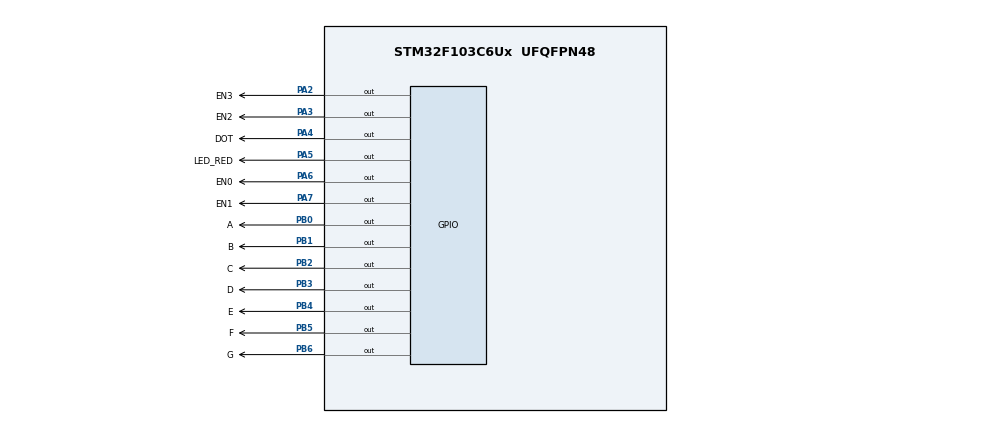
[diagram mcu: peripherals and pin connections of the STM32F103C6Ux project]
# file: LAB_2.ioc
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Mcu.Family=STM32F1
Mcu.Name=STM32F103C6Ux
Mcu.Package=UFQFPN48
NVIC.PriorityGroup=NVIC_PRIORITYGROUP_4
NVIC.TIM2_IRQn=true\:0\:0\:false\:false\:true\:true\:true\:true
PA2.GPIO_Label=EN3
PA2.Signal=GPIO_Output
PA3.GPIO_Label=EN2
PA3.Signal=GPIO_Output
PA4.GPIO_Label=DOT
PA4.Signal=GPIO_Output
PA5.GPIO_Label=LED_RED
PA5.Signal=GPIO_Output
PA6.GPIO_Label=EN0
PA6.Signal=GPIO_Output
PA7.GPIO_Label=EN1
PA7.Signal=GPIO_Output
PB0.GPIO_Label=A
PB0.Signal=GPIO_Output
PB1.GPIO_Label=B
PB1.Signal=GPIO_Output
PB2.GPIO_Label=C
PB2.Signal=GPIO_Output
PB3.GPIO_Label=D
PB3.Signal=GPIO_Output
PB4.GPIO_Label=E
PB4.Signal=GPIO_Output
PB5.GPIO_Label=F
PB5.Signal=GPIO_Output
PB6.GPIO_Label=G
PB6.Signal=GPIO_Output
ProjectManager.HeapSize=0x200
ProjectManager.StackSize=0x400
ProjectManager.TargetToolchain=STM32CubeIDE
RCC.APB1Freq_Value=8000000
RCC.APB2Freq_Value=8000000
TIM2.Period=9
TIM2.Prescaler=7999
VP_TIM2_VS_ClockSourceINT.Mode=Internal
board=custom

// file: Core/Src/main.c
/* USER CODE BEGIN Header */
/**
  ******************************************************************************
  * @file           : main.c
  * @brief          : Main program body
  ******************************************************************************
  * @attention
  *
  * Copyright (c) 2022 STMicroelectronics.
  * All rights reserved.
  *
  * This software is licensed under terms that can be found in the LICENSE file
  * in the root directory of this software component.
  * If no LICENSE file comes with this software, it is provided AS-IS.
  *
  ******************************************************************************
  */
/* USER CODE END Header */
#include "main.h"

/* USER CODE BEGIN Includes */
#include "global.h"
#include "software_timer.h"
/* USER CODE END Includes */

TIM_HandleTypeDef htim2;

/* USER CODE BEGIN PV */
int hour, minute, second;
/* USER CODE END PV */

void SystemClock_Config(void);
static void MX_GPIO_Init(void);
static void MX_TIM2_Init(void);
/* USER CODE BEGIN PFP */
void updateClockBuffer (int hour, int minute);
void update7SEG(int index);
/* USER CODE END PFP */

/* USER CODE BEGIN 0 */
const int MAX_LED = 4;
int index_led = 0;
int led_buffer[4] = {1, 2, 3, 0};

void update7SEG(int index) {
	switch (index) {
		case 0:
			HAL_GPIO_WritePin(EN0_GPIO_Port, EN0_Pin, RESET);
			HAL_GPIO_WritePin(EN1_GPIO_Port, EN1_Pin, SET);
			HAL_GPIO_WritePin(EN2_GPIO_Port, EN2_Pin, SET);
			HAL_GPIO_WritePin(EN3_GPIO_Port, EN3_Pin, SET);
			display7SEG(led_buffer[0]);
			break;
		case 1:
			HAL_GPIO_WritePin(EN0_GPIO_Port, EN0_Pin, SET);
			HAL_GPIO_WritePin(EN1_GPIO_Port, EN1_Pin, RESET);
			HAL_GPIO_WritePin(EN2_GPIO_Port, EN2_Pin, SET);
			HAL_GPIO_WritePin(EN3_GPIO_Port, EN3_Pin, SET);
			display7SEG(led_buffer[1]);
			break;
		case 2:
			HAL_GPIO_WritePin(EN0_GPIO_Port, EN0_Pin, SET);
			HAL_GPIO_WritePin(EN1_GPIO_Port, EN1_Pin, SET);
			HAL_GPIO_WritePin(EN2_GPIO_Port, EN2_Pin, RESET);
			HAL_GPIO_WritePin(EN3_GPIO_Port, EN3_Pin, SET);
			display7SEG(led_buffer[2]);
			break;
		case 3:
			HAL_GPIO_WritePin(EN0_GPIO_Port, EN0_Pin, SET);
			HAL_GPIO_WritePin(EN1_GPIO_Port, EN1_Pin, SET);
			HAL_GPIO_WritePin(EN2_GPIO_Port, EN2_Pin, SET);
			HAL_GPIO_WritePin(EN3_GPIO_Port, EN3_Pin, RESET);
			display7SEG(led_buffer[3]);
			break;
		default:
			break;
	}
}

void updateClockBuffer (int hour, int minute){
    led_buffer[0] = hour/10;
    led_buffer[1] = hour%10;
    led_buffer[2] = minute/10;
    led_buffer[3] = minute%10;
}
/* USER CODE END 0 */

int main(void)
{

  /* MCU Configuration--------------------------------------------------------*/

  /* Reset of all peripherals, Initializes the Flash interface and the Systick. */
  HAL_Init();

  /* Configure the system clock */
  SystemClock_Config();

  /* Initialize all configured peripherals */
  MX_GPIO_Init();
  MX_TIM2_Init();
  /* USER CODE BEGIN 2 */
  HAL_TIM_Base_Start_IT(&htim2);
  /* USER CODE END 2 */

  /* Infinite loop */
  /* USER CODE BEGIN WHILE */
  setTimer0 (500) ;
  setTimer1 (250) ;
  hour = 15, minute = 8, second = 50;

  int state = 0;
  while (1)
  {
	  if( timer1_flag == 1) {
		  second++;
		  if(second >= 60){
			  second = 0;
			  minute++;
		  }
		  if(minute >= 60){
			  minute = 0;
			  hour++;
		  }
		  if(hour >= 24){
			  hour = 0;
		  }
		  updateClockBuffer(hour, minute);
	  	  setTimer1 (50) ;
	  }
	  if( timer0_flag == 1) {
		  if(state == 0){
				HAL_GPIO_TogglePin ( DOT_GPIO_Port , DOT_Pin) ;
				HAL_GPIO_TogglePin ( LED_RED_GPIO_Port , LED_RED_Pin) ;
		  		update7SEG(1);
		  		state = 1;
		  	}
		  	else if(state == 1){
		  		update7SEG(2);
		  		state = 2;
		  	}
		  	else if(state == 2){
				HAL_GPIO_TogglePin ( DOT_GPIO_Port , DOT_Pin) ;
				HAL_GPIO_TogglePin ( LED_RED_GPIO_Port , LED_RED_Pin) ;
		  		update7SEG(3);
		  		state = 3;
		  	}
		  	else if(state == 3){
		  		update7SEG(0);
		  		state = 0;
		  	}
		  setTimer0 (500) ;
	  }
    /* USER CODE END WHILE */

  }
}

void SystemClock_Config(void)
{
  RCC_OscInitTypeDef RCC_OscInitStruct = {0};
  RCC_ClkInitTypeDef RCC_ClkInitStruct = {0};

  /** Initializes the RCC Oscillators according to the specified parameters
  * in the RCC_OscInitTypeDef structure.
  */
  RCC_OscInitStruct.OscillatorType = RCC_OSCILLATORTYPE_HSI;
  RCC_OscInitStruct.HSIState = RCC_HSI_ON;
  RCC_OscInitStruct.HSICalibrationValue = RCC_HSICALIBRATION_DEFAULT;
  RCC_OscInitStruct.PLL.PLLState = RCC_PLL_NONE;
  if (HAL_RCC_OscConfig(&RCC_OscInitStruct) != HAL_OK)
  {
    Error_Handler();
  }

  /** Initializes the CPU, AHB and APB buses clocks
  */
  RCC_ClkInitStruct.ClockType = RCC_CLOCKTYPE_HCLK|RCC_CLOCKTYPE_SYSCLK
                              |RCC_CLOCKTYPE_PCLK1|RCC_CLOCKTYPE_PCLK2;
  RCC_ClkInitStruct.SYSCLKSource = RCC_SYSCLKSOURCE_HSI;
  RCC_ClkInitStruct.AHBCLKDivider = RCC_SYSCLK_DIV1;
  RCC_ClkInitStruct.APB1CLKDivider = RCC_HCLK_DIV1;
  RCC_ClkInitStruct.APB2CLKDivider = RCC_HCLK_DIV1;

  if (HAL_RCC_ClockConfig(&RCC_ClkInitStruct, FLASH_LATENCY_0) != HAL_OK)
  {
    Error_Handler();
  }
}

static void MX_TIM2_Init(void)
{

  TIM_ClockConfigTypeDef sClockSourceConfig = {0};
  TIM_MasterConfigTypeDef sMasterConfig = {0};

  htim2.Instance = TIM2;
  htim2.Init.Prescaler = 7999;
  htim2.Init.CounterMode = TIM_COUNTERMODE_UP;
  htim2.Init.Period = 9;
  htim2.Init.ClockDivision = TIM_CLOCKDIVISION_DIV1;
  htim2.Init.AutoReloadPreload = TIM_AUTORELOAD_PRELOAD_DISABLE;
  if (HAL_TIM_Base_Init(&htim2) != HAL_OK)
  {
    Error_Handler();
  }
  sClockSourceConfig.ClockSource = TIM_CLOCKSOURCE_INTERNAL;
  if (HAL_TIM_ConfigClockSource(&htim2, &sClockSourceConfig) != HAL_OK)
  {
    Error_Handler();
  }
  sMasterConfig.MasterOutputTrigger = TIM_TRGO_RESET;
  sMasterConfig.MasterSlaveMode = TIM_MASTERSLAVEMODE_DISABLE;
  if (HAL_TIMEx_MasterConfigSynchronization(&htim2, &sMasterConfig) != HAL_OK)
  {
    Error_Handler();
  }

}

static void MX_GPIO_Init(void)
{
  GPIO_InitTypeDef GPIO_InitStruct = {0};

  /* GPIO Ports Clock Enable */
  __HAL_RCC_GPIOA_CLK_ENABLE();
  __HAL_RCC_GPIOB_CLK_ENABLE();

  /*Configure GPIO pin Output Level */
  HAL_GPIO_WritePin(GPIOA, EN3_Pin|EN2_Pin|DOT_Pin|LED_RED_Pin
                          |EN0_Pin|EN1_Pin, GPIO_PIN_RESET);

  /*Configure GPIO pin Output Level */
  HAL_GPIO_WritePin(GPIOB, A_Pin|B_Pin|C_Pin|D_Pin
                          |E_Pin|F_Pin|G_Pin, GPIO_PIN_RESET);

  /*Configure GPIO pins : EN3_Pin EN2_Pin DOT_Pin LED_RED_Pin
                           EN0_Pin EN1_Pin */
  GPIO_InitStruct.Pin = EN3_Pin|EN2_Pin|DOT_Pin|LED_RED_Pin
                          |EN0_Pin|EN1_Pin;
  GPIO_InitStruct.Mode = GPIO_MODE_OUTPUT_PP;
  GPIO_InitStruct.Pull = GPIO_NOPULL;
  GPIO_InitStruct.Speed = GPIO_SPEED_FREQ_LOW;
  HAL_GPIO_Init(GPIOA, &GPIO_InitStruct);

  /*Configure GPIO pins : A_Pin B_Pin C_Pin D_Pin
                           E_Pin F_Pin G_Pin */
  GPIO_InitStruct.Pin = A_Pin|B_Pin|C_Pin|D_Pin
                          |E_Pin|F_Pin|G_Pin;
  GPIO_InitStruct.Mode = GPIO_MODE_OUTPUT_PP;
  GPIO_InitStruct.Pull = GPIO_NOPULL;
  GPIO_InitStruct.Speed = GPIO_SPEED_FREQ_LOW;
  HAL_GPIO_Init(GPIOB, &GPIO_InitStruct);

}

/* USER CODE BEGIN 4 */

void HAL_TIM_PeriodElapsedCallback(TIM_HandleTypeDef *htim) {
	timer_run();
}

/* USER CODE END 4 */

void Error_Handler(void)
{
  __disable_irq();
  while (1)
  {
  }
}
